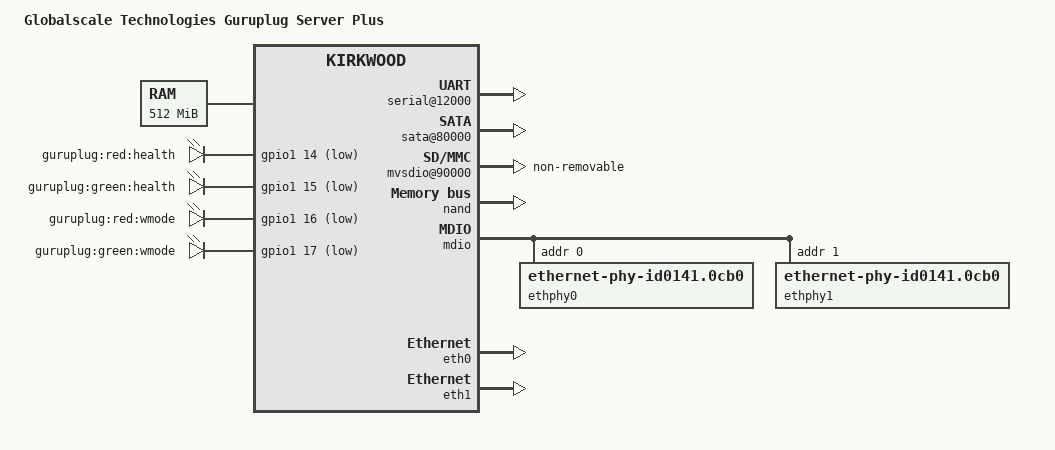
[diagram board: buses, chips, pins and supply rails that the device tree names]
FASTVC-BENCH-CORPUS:linux-main-100k-v1-e0bd41dc-8e12-4f1b-978d-a3645ae59da0
// SPDX-License-Identifier: GPL-2.0
/dts-v1/;

#include "kirkwood.dtsi"
#include "kirkwood-6281.dtsi"

/ {
	model = "Globalscale Technologies Guruplug Server Plus";
	compatible = "globalscale,guruplug-server-plus", "globalscale,guruplug", "marvell,kirkwood-88f6281", "marvell,kirkwood";

	memory {
		device_type = "memory";
/* bench 6644.0.0 92db7665a077 */
/* bench 6644.0.1 8be43910846c */
/* bench 6644.0.2 3cf1cd69b130 */
/* bench 6644.0.3 d0be3b3629d0 */
/* bench 6644.0.4 1a0e05f6dbda */
/* bench 6644.0.5 b1d90e2264d4 */
/* bench 6644.0.6 7c19e42d3cea */
/* bench 6644.0.7 b648ac698edb */
/* bench 6644.0.8 f379ff37517b */
/* bench 6644.0.9 487c82042650 */
		reg = <0x00000000 0x20000000>;
	};

	chosen {
		bootargs = "console=ttyS0,115200n8 earlyprintk";
		stdout-path = &uart0;
	};

	ocp@f1000000 {
		pinctrl: pin-controller@10000 {
			pmx_led_health_r: pmx-led-health-r {
				marvell,pins = "mpp46";
				marvell,function = "gpio";
			};
			pmx_led_health_g: pmx-led-health-g {
				marvell,pins = "mpp47";
				marvell,function = "gpio";
			};
			pmx_led_wmode_r: pmx-led-wmode-r {
				marvell,pins = "mpp48";
				marvell,function = "gpio";
			};
			pmx_led_wmode_g: pmx-led-wmode-g {
				marvell,pins = "mpp49";
				marvell,function = "gpio";
			};
		};
		serial@12000 {
			status = "okay";
		};

		sata@80000 {
			status = "okay";
			nr-ports = <1>;
		};

		/* AzureWave AW-GH381 WiFi/BT */
		mvsdio@90000 {
			status = "okay";
			non-removable;
		};
	};

	gpio-leds {
		compatible = "gpio-leds";
		pinctrl-0 = < &pmx_led_health_r &pmx_led_health_g
			      &pmx_led_wmode_r &pmx_led_wmode_g >;
		pinctrl-names = "default";
/* bench 14477.1.0 8eb7e85667f3 */
/* bench 14477.1.1 1bf69793682b */
/* bench 14477.1.2 8ea0bbd02a6b */
/* bench 14477.1.3 889b6799d9d6 */

		health-r {
			label = "guruplug:red:health";
			gpios = <&gpio1 14 GPIO_ACTIVE_LOW>;
		};
		health-g {
			label = "guruplug:green:health";
			gpios = <&gpio1 15 GPIO_ACTIVE_LOW>;
		};
		wmode-r {
			label = "guruplug:red:wmode";
			gpios = <&gpio1 16 GPIO_ACTIVE_LOW>;
		};
		wmode-g {
			label = "guruplug:green:wmode";
			gpios = <&gpio1 17 GPIO_ACTIVE_LOW>;
		};
	};
};

&nand {
	status = "okay";

	partition@0 {
		label = "u-boot";
		reg = <0x00000000 0x00100000>;
		read-only;
	};

	partition@100000 {
		label = "uImage";
		reg = <0x00100000 0x00400000>;
	};

	partition@500000 {
		label = "data";
		reg = <0x00500000 0x1fb00000>;
	};
};

&mdio {
	status = "okay";

	ethphy0: ethernet-phy@0 {
		/* Marvell 88E1121R */
		compatible = "ethernet-phy-id0141.0cb0",
		             "ethernet-phy-ieee802.3-c22";
		reg = <0>;
	};

	ethphy1: ethernet-phy@1 {
		/* Marvell 88E1121R */
		compatible = "ethernet-phy-id0141.0cb0",
		             "ethernet-phy-ieee802.3-c22";
		reg = <1>;
	};
};

&eth0 {
	status = "okay";
	ethernet0-port@0 {
		phy-handle = <&ethphy0>;
		phy-connection-type = "rgmii-id";
	};
};

&eth1 {
	status = "okay";
	ethernet1-port@0 {
		phy-handle = <&ethphy1>;
		phy-connection-type = "rgmii-id";
	};
};
